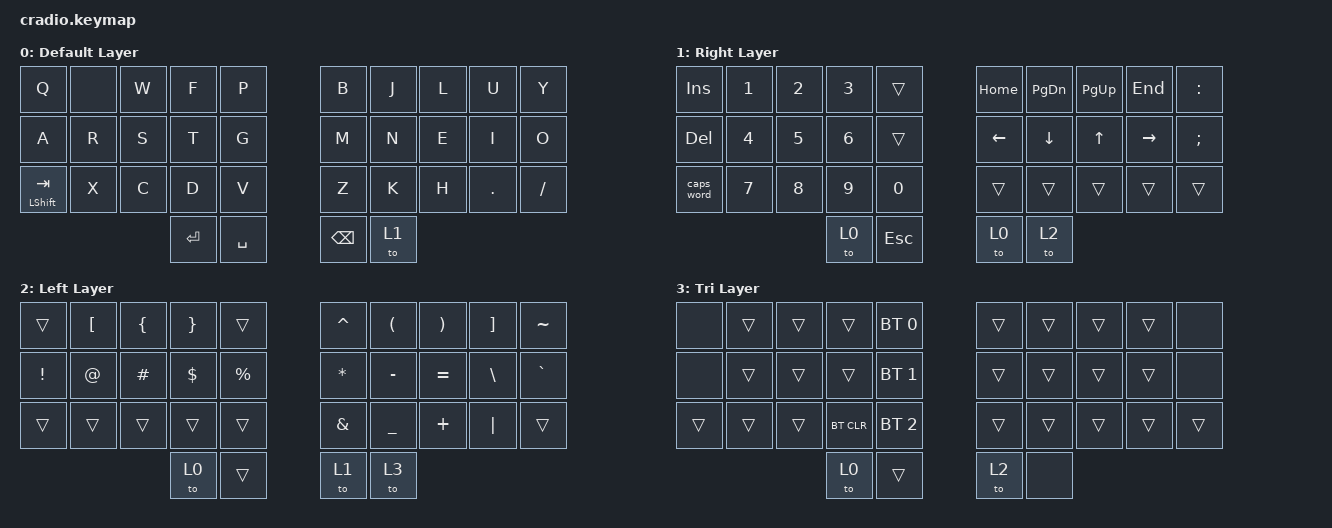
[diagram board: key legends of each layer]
// Copyright (c) 2022 The ZMK Contributors
// SPDX-License-Identifier: MIT

#include <behaviors.dtsi>
#include <dt-bindings/zmk/keys.h>
#include <dt-bindings/zmk/bt.h>

// Home row mods macro
#define HRML(k1,k2,k3,k4) &ht LSHFT k1  &ht LALT k2  &ht LCTRL k3  &ht LGUI k4
#define HRMR(k1,k2,k3,k4) &ht RGUI k1  &ht RCTRL k2  &ht RALT k3  &ht RSHFT k4

/ {
    behaviors {
        ht: hold_tap {
            compatible = "zmk,behavior-hold-tap";
            #binding-cells = <2>;
            flavor = "tap-preferred";
            tapping-term-ms = <220>;
            quick-tap-ms = <150>;
            require-prior-idle-ms = <100>;
            bindings = <&kp>, <&kp>;
        };
    };

    conditional_layers {
        compatible = "zmk,conditional-layers";
    //    tri_layer {
    //        if-layers = <1 2>;
    //       then-layer = <3>;
    //     };
    };

    keymap {
        compatible = "zmk,keymap";
        
        default_layer {
            display-name = "Default Layer";
            bindings = <
        //╭──────────┬──────────┬──────────┬──────────┬──────────╮   ╭──────────┬──────────┬──────────┬──────────┬──────────╮
        //│  Q       │  Error   │  W       │  F       │  P       │   │  B       │  J       │  L       │  U       │  Y       │
            &kp Q      &none      &kp W      &kp F      &kp P          &kp B      &kp J      &kp L      &kp U      &kp Y
        //├──────────┼──────────┼──────────┼──────────┼──────────┤   ├──────────┼──────────┼──────────┼──────────┼──────────┤
        //│  A       │  R       │  S       │  T       │  G       │   │  M       │  N       │  E       │  I       │  O       │
            &kp A      &kp R      &kp S      &kp T      &kp G          &kp M      &kp N      &kp E      &kp I      &kp O
        //├──────────┼──────────┼──────────┼──────────┼──────────┤   ├──────────┼──────────┼──────────┼──────────┼──────────┤
        //│  SHIFTAB │  X       │  C       │  D       │  V       │   │  Z       │  K       │ H        │ . >      │ / ?      │
      &ht LSHFT TAB    &kp X      &kp C      &kp D      &kp V          &kp Z      &kp K      &kp H      &kp DOT    &kp FSLH
        //╰──────────┴──────────┴──────────┼──────────┼──────────┤   ├──────────┼──────────┼──────────┴──────────┴──────────╯
                                            &kp ENTER  &kp SPACE       &kp BSPC   &to 1
        //                                 ╰──────────┴──────────╯   ╰──────────┴──────────╯
            >;
        };

        right_layer {
            display-name = "Right Layer";
            bindings = <
        //╭──────────┬──────────┬──────────┬──────────┬──────────╮   ╭──────────┬──────────┬──────────┬──────────┬──────────╮
        //│ INSERT   │  1       │  2       │  3       │          │   │ HOME     │ PAGE DN  │ PAGE UP  │ END      │  :       │
            &kp INS    &kp N1     &kp N2     &kp N3     &trans         &kp HOME   &kp PG_DN  &kp PG_UP  &kp END    &kp COLON
        //├──────────┼──────────┼──────────┼──────────┼──────────┤   ├──────────┼──────────┼──────────┼──────────┼──────────┤
        //│ DELETE   │  4       │  5       │  6       │          │   │ LEFT     │ DOWN     │ UP       │ RIGHT    │  ;       │
            &kp DEL    &kp N4     &kp N5     &kp N6     &trans         &kp LEFT   &kp DOWN   &kp UP   &kp RIGHT   &kp SEMI
        //├──────────┼──────────┼──────────┼──────────┼──────────┤   ├──────────┼──────────┼──────────┼──────────┼──────────┤
        //│ CAPS     │  7       │  8       │  9       │  0       │   │          │          │          │          │          │
           &caps_word  &kp N7     &kp N8     &kp N9     &kp N0         &trans     &trans     &trans     &trans    &trans    
        //╰──────────┴──────────┴──────────┼──────────┼──────────┤   ├──────────┼──────────┼──────────┴──────────┴──────────╯
                                             &to 0      &kp ESC        &to 0      &to 2
        //                                 ╰──────────┴──────────╯   ╰──────────┴──────────╯
            >;
        };

        left_layer {
            display-name = "Left Layer";
            bindings = <
        //╭──────────┬──────────┬──────────┬──────────┬──────────╮   ╭──────────┬──────────┬──────────┬──────────┬──────────╮
        //│          │  [       │  {       │  }       │          │   │  ^       │  (       │  )       │  ]       │  ~       │
            &trans     &kp LBKT   &kp LBRC   &kp RBRC   &trans         &kp CARET  &kp LPAR   &kp RPAR   &kp RBKT   &kp TILDE
        //├──────────┼──────────┼──────────┼──────────┼──────────┤   ├──────────┼──────────┼──────────┼──────────┼──────────┤
        //│  !       │  @       │  #       │  $       │  %       │   │  *       │  -       │  =       │  \       │  `       │
            &kp EXCL   &kp AT     &kp HASH   &kp DLLR   &kp PRCNT      &kp ASTRK  &kp MINUS  &kp EQUAL  &kp BSLH   &kp GRAVE
        //├──────────┼──────────┼──────────┼──────────┼──────────┤   ├──────────┼──────────┼──────────┼──────────┼──────────┤
        //│          │          │          │          │          │   │  &       │  _       │  +       │  │       │          │
           &trans      &trans     &trans     &trans     &trans         &kp AMPS   &kp UNDER  &kp PLUS   &kp PIPE   &trans
        //╰──────────┴──────────┴──────────┼──────────┼──────────┤   ├──────────┼──────────┼──────────┴──────────┴──────────╯
                                             &to 0      &trans         &to 1      &to 3
        //                                 ╰──────────┴──────────╯   ╰──────────┴──────────╯
            >;
        };

        tri_layer {
            display-name = "Tri Layer";
            bindings = <
        //╭──────────┬──────────┬──────────┬──────────┬──────────╮   ╭──────────┬──────────┬──────────┬──────────┬──────────╮
        //│ RESET    │          │          │          │PROFILE 0 │   │          │          │          │          │  RESET   │
            &none      &trans     &trans     &trans    &bt BT_SEL 0    &trans     &trans     &trans     &trans    &none
        //├──────────┼──────────┼──────────┼──────────┼──────────┤   ├──────────┼──────────┼──────────┼──────────┼──────────┤&sys_reset
        //│BOOTLOADER│          │          │          │PROFILE 1 │   │          │          │          │          │BOOTLOADER│&bootloader
            &none      &trans     &trans     &trans    &bt BT_SEL 1    &trans     &trans     &trans     &trans     &none
        //├──────────┼──────────┼──────────┼──────────┼──────────┤   ├──────────┼──────────┼──────────┼──────────┼──────────┤
        //│          │          │          │ CLEAR BT │PROFILE 2 │   │          │          │          │          │          │
            &trans     &trans     &trans    &bt BT_CLR &bt BT_SEL 2    &trans     &trans     &trans     &trans     &trans
        //╰──────────┴──────────┴──────────┼──────────┼──────────┤   ├──────────┼──────────┼──────────┴──────────┴──────────╯
                                             &to 0     &trans          &to 2      &none
        //                                 ╰──────────┴──────────╯   ╰──────────┴──────────╯
            >;
        };
    };
};
